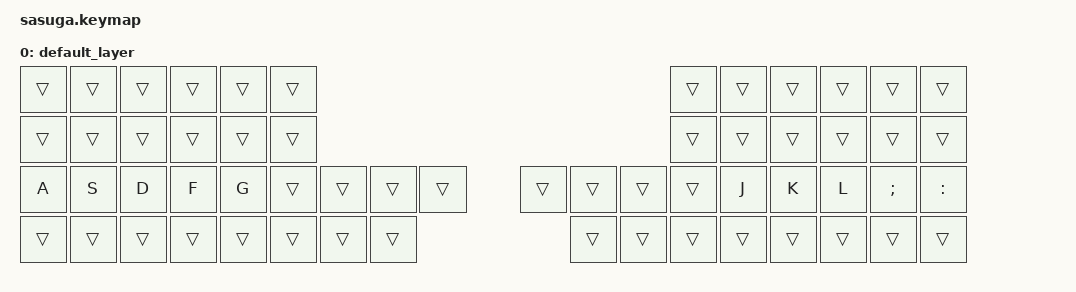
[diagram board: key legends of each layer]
/*
 * Copyright (c) 2020 The ZMK Contributors
 *
 * SPDX-License-Identifier: MIT
 */

 #include <behaviors.dtsi>
 #include <dt-bindings/zmk/keys.h>
 #include <dt-bindings/zmk/bt.h>
 #include <dt-bindings/zmk/rgb.h>
 #include <dt-bindings/zmk/ext_power.h>
 #include <dt-bindings/zmk/outputs.h>

 #define DEFAULT 0
 #define RSE 1
 #define LWR 2


/ {
       keymap {
              compatible = "zmk,keymap"; 

              default_layer {                     
                     bindings = <
                     &trans   &trans    &trans   &trans &trans &trans                                                                   &trans  &trans   &trans   &trans  &trans   &trans
                     &trans   &trans    &trans   &trans &trans &trans                                                                   &trans  &trans   &trans   &trans  &trans   &trans
                     &kp A    &kp S    &kp D     &kp F  &kp G  &trans   &trans   &trans   &trans               &trans  &trans   &trans  &trans  &kp J    &kp K    &kp L   &kp SEMI &kp COLON
                     &trans   &trans    &trans   &trans &trans          &trans   &trans   &trans               &trans  &trans   &trans          &trans   &trans   &trans  &trans   &trans
                     >;
              };
       };
};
